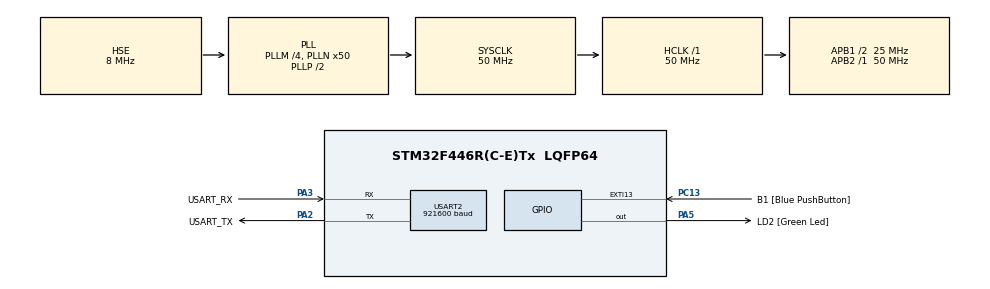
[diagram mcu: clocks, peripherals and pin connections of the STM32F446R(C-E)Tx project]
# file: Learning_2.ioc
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Mcu.Family=STM32F4
Mcu.Name=STM32F446R(C-E)Tx
Mcu.Package=LQFP64
NVIC.EXTI15_10_IRQn=true\:0\:0\:false\:false\:true\:true\:true\:true
NVIC.PriorityGroup=NVIC_PRIORITYGROUP_0
NVIC.TIM4_IRQn=true\:0\:0\:false\:false\:true\:true\:true\:true
PA13.GPIO_Label=TMS
PA13.Mode=Serial_Wire
PA13.Signal=SYS_JTMS-SWDIO
PA14.GPIO_Label=TCK
PA14.Mode=Serial_Wire
PA14.Signal=SYS_JTCK-SWCLK
PA2.GPIO_Label=USART_TX
PA2.Mode=Asynchronous
PA2.Signal=USART2_TX
PA3.GPIO_Label=USART_RX
PA3.Mode=Asynchronous
PA3.Signal=USART2_RX
PA5.GPIO_Label=LD2 [Green Led]
PA5.Signal=GPIO_Output
PB3.GPIO_Label=SWO
PB3.Signal=SYS_JTDO-SWO
PC13.GPIO_Label=B1 [Blue PushButton]
PC13.GPIO_ModeDefaultEXTI=GPIO_MODE_IT_FALLING
PC13.Signal=GPXTI13
PC14-OSC32_IN.Mode=LSE-External-Oscillator
PC14-OSC32_IN.Signal=RCC_OSC32_IN
PC15-OSC32_OUT.Mode=LSE-External-Oscillator
PC15-OSC32_OUT.Signal=RCC_OSC32_OUT
PH0-OSC_IN.Mode=HSE-External-Oscillator
PH0-OSC_IN.Signal=RCC_OSC_IN
PH1-OSC_OUT.Mode=HSE-External-Oscillator
PH1-OSC_OUT.Signal=RCC_OSC_OUT
ProjectManager.HeapSize=0x200
ProjectManager.StackSize=0x400
ProjectManager.TargetToolchain=STM32CubeIDE
RCC.48MHZClocksFreq_Value=84000000
RCC.AHBFreq_Value=50000000
RCC.APB1CLKDivider=RCC_HCLK_DIV2
RCC.APB1Freq_Value=25000000
RCC.APB1TimFreq_Value=50000000
RCC.APB2Freq_Value=50000000
RCC.APB2TimFreq_Value=50000000
RCC.CortexFreq_Value=50000000
RCC.FLatency-AdvancedSettings=FLASH_LATENCY_1
RCC.HCLKFreq_Value=50000000
RCC.HSE_VALUE=8000000
RCC.HSI_VALUE=16000000
RCC.PLLM=4
RCC.PLLN=50
RCC.PLLSourceVirtual=RCC_PLLSOURCE_HSE
RCC.SYSCLKFreq_VALUE=50000000
RCC.SYSCLKSource=RCC_SYSCLKSOURCE_PLLCLK
RCC.USBFreq_Value=50000000
RCC.VCOOutputFreq_Value=100000000
TIM4.Period=2499
TIM4.Prescaler=9999
USART2.BaudRate=921600
USART2.VirtualMode=VM_ASYNC
VP_TIM4_VS_ClockSourceINT.Mode=Internal
board=NUCLEO-F446RE

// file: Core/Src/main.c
/* USER CODE BEGIN Header */
/**
  ******************************************************************************
  * @file           : main.c
  * @brief          : Main program body
  ******************************************************************************
  * @attention
  *
  * Copyright (c) 2025 STMicroelectronics.
  * All rights reserved.
  *
  * This software is licensed under terms that can be found in the LICENSE file
  * in the root directory of this software component.
  * If no LICENSE file comes with this software, it is provided AS-IS.
  *
  ******************************************************************************
  */
/* USER CODE END Header */
#include "main.h"

/* USER CODE BEGIN Includes */
#include <stdio.h>
/* USER CODE END Includes */

TIM_HandleTypeDef htim4;

UART_HandleTypeDef huart2;

/* USER CODE BEGIN PV */
uint16_t blink_delays[] = {500,250,100};
uint8_t state = 0;
uint8_t BTN_FLAG = 0;
uint8_t TIM_FLAG = 0;

/* USER CODE END PV */

void SystemClock_Config(void);
static void MX_GPIO_Init(void);
static void MX_USART2_UART_Init(void);
static void MX_TIM4_Init(void);

/* USER CODE BEGIN 0 */
/* Private user code ---------------------------------------------------------*/
/* USER CODE BEGIN 0 */

// Send printf to uart
	int _write(int fd, char* ptr, int len) {
		HAL_StatusTypeDef hstatus;

		if (fd == 1 || fd == 2) {
			hstatus = HAL_UART_Transmit(&huart2, (uint8_t *) ptr, len, HAL_MAX_DELAY);
			if (hstatus == HAL_OK)
				return len;
			else
				return -1;
		}
		return -1;
	}

	void HAL_GPIO_EXTI_Callback(uint16_t GPIO_Pin){

	  }

	void HAL_TIM_PeriodElapsedCallback(TIM_HandleTypeDef *htim){
		TIM_FLAG = 1;
	}

/* USER CODE END 0 */

int main(void)
{

  /* MCU Configuration--------------------------------------------------------*/

  /* Reset of all peripherals, Initializes the Flash interface and the Systick. */
  HAL_Init();

  /* Configure the system clock */
  SystemClock_Config();

  /* Initialize all configured peripherals */
  MX_GPIO_Init();
  MX_USART2_UART_Init();
  MX_TIM4_Init();
  HAL_TIM_Base_Start_IT(&htim4);
  /* USER CODE BEGIN 2 */
  /* Private user code ---------------------------------------------------------*/
  /* USER CODE BEGIN 0 */
  printf("First App\r\n");

  /* USER CODE END 0 */
  /* USER CODE END 2 */

  /* Infinite loop */
  /* USER CODE BEGIN WHILE */
  // uint32_t now = 0, next_blink = 500; // loop_cnt = 0;
  while (1)
  {
	  // now = HAL_GetTick();

	  if(BTN_FLAG){
		  printf("Button Pressed\r\n");
		  BTN_FLAG = 0;
	  }

	  if(TIM_FLAG){
		  HAL_GPIO_TogglePin(GPIOA, GPIO_PIN_5);
		  TIM_FLAG = 0;
	  }
    /* USER CODE END WHILE */

  }
}

void SystemClock_Config(void)
{
  RCC_OscInitTypeDef RCC_OscInitStruct = {0};
  RCC_ClkInitTypeDef RCC_ClkInitStruct = {0};

  /** Configure the main internal regulator output voltage
  */
  __HAL_RCC_PWR_CLK_ENABLE();
  __HAL_PWR_VOLTAGESCALING_CONFIG(PWR_REGULATOR_VOLTAGE_SCALE3);

  /** Initializes the RCC Oscillators according to the specified parameters
  * in the RCC_OscInitTypeDef structure.
  */
  RCC_OscInitStruct.OscillatorType = RCC_OSCILLATORTYPE_HSE;
  RCC_OscInitStruct.HSEState = RCC_HSE_ON;
  RCC_OscInitStruct.PLL.PLLState = RCC_PLL_ON;
  RCC_OscInitStruct.PLL.PLLSource = RCC_PLLSOURCE_HSE;
  RCC_OscInitStruct.PLL.PLLM = 4;
  RCC_OscInitStruct.PLL.PLLN = 50;
  RCC_OscInitStruct.PLL.PLLP = RCC_PLLP_DIV2;
  RCC_OscInitStruct.PLL.PLLQ = 2;
  RCC_OscInitStruct.PLL.PLLR = 2;
  if (HAL_RCC_OscConfig(&RCC_OscInitStruct) != HAL_OK)
  {
    Error_Handler();
  }

  /** Initializes the CPU, AHB and APB buses clocks
  */
  RCC_ClkInitStruct.ClockType = RCC_CLOCKTYPE_HCLK|RCC_CLOCKTYPE_SYSCLK
                              |RCC_CLOCKTYPE_PCLK1|RCC_CLOCKTYPE_PCLK2;
  RCC_ClkInitStruct.SYSCLKSource = RCC_SYSCLKSOURCE_PLLCLK;
  RCC_ClkInitStruct.AHBCLKDivider = RCC_SYSCLK_DIV1;
  RCC_ClkInitStruct.APB1CLKDivider = RCC_HCLK_DIV2;
  RCC_ClkInitStruct.APB2CLKDivider = RCC_HCLK_DIV1;

  if (HAL_RCC_ClockConfig(&RCC_ClkInitStruct, FLASH_LATENCY_1) != HAL_OK)
  {
    Error_Handler();
  }
}

static void MX_TIM4_Init(void)
{

  TIM_ClockConfigTypeDef sClockSourceConfig = {0};
  TIM_MasterConfigTypeDef sMasterConfig = {0};

  htim4.Instance = TIM4;
  htim4.Init.Prescaler = 9999;
  htim4.Init.CounterMode = TIM_COUNTERMODE_UP;
  htim4.Init.Period = 2499;
  htim4.Init.ClockDivision = TIM_CLOCKDIVISION_DIV1;
  htim4.Init.AutoReloadPreload = TIM_AUTORELOAD_PRELOAD_DISABLE;
  if (HAL_TIM_Base_Init(&htim4) != HAL_OK)
  {
    Error_Handler();
  }
  sClockSourceConfig.ClockSource = TIM_CLOCKSOURCE_INTERNAL;
  if (HAL_TIM_ConfigClockSource(&htim4, &sClockSourceConfig) != HAL_OK)
  {
    Error_Handler();
  }
  sMasterConfig.MasterOutputTrigger = TIM_TRGO_RESET;
  sMasterConfig.MasterSlaveMode = TIM_MASTERSLAVEMODE_DISABLE;
  if (HAL_TIMEx_MasterConfigSynchronization(&htim4, &sMasterConfig) != HAL_OK)
  {
    Error_Handler();
  }

}

static void MX_USART2_UART_Init(void)
{

  huart2.Instance = USART2;
  huart2.Init.BaudRate = 921600;
  huart2.Init.WordLength = UART_WORDLENGTH_8B;
  huart2.Init.StopBits = UART_STOPBITS_1;
  huart2.Init.Parity = UART_PARITY_NONE;
  huart2.Init.Mode = UART_MODE_TX_RX;
  huart2.Init.HwFlowCtl = UART_HWCONTROL_NONE;
  huart2.Init.OverSampling = UART_OVERSAMPLING_16;
  if (HAL_UART_Init(&huart2) != HAL_OK)
  {
    Error_Handler();
  }

}

static void MX_GPIO_Init(void)
{
  GPIO_InitTypeDef GPIO_InitStruct = {0};

  /* GPIO Ports Clock Enable */
  __HAL_RCC_GPIOC_CLK_ENABLE();
  __HAL_RCC_GPIOH_CLK_ENABLE();
  __HAL_RCC_GPIOA_CLK_ENABLE();
  __HAL_RCC_GPIOB_CLK_ENABLE();

  /*Configure GPIO pin Output Level */
  HAL_GPIO_WritePin(LD2_GPIO_Port, LD2_Pin, GPIO_PIN_RESET);

  /*Configure GPIO pin : B1_Pin */
  GPIO_InitStruct.Pin = B1_Pin;
  GPIO_InitStruct.Mode = GPIO_MODE_IT_FALLING;
  GPIO_InitStruct.Pull = GPIO_NOPULL;
  HAL_GPIO_Init(B1_GPIO_Port, &GPIO_InitStruct);

  /*Configure GPIO pin : LD2_Pin */
  GPIO_InitStruct.Pin = LD2_Pin;
  GPIO_InitStruct.Mode = GPIO_MODE_OUTPUT_PP;
  GPIO_InitStruct.Pull = GPIO_NOPULL;
  GPIO_InitStruct.Speed = GPIO_SPEED_FREQ_LOW;
  HAL_GPIO_Init(LD2_GPIO_Port, &GPIO_InitStruct);

  /* EXTI interrupt init*/
  HAL_NVIC_SetPriority(EXTI15_10_IRQn, 0, 0);
  HAL_NVIC_EnableIRQ(EXTI15_10_IRQn);

}

void Error_Handler(void)
{
  __disable_irq();
  while (1)
  {
  }
}
